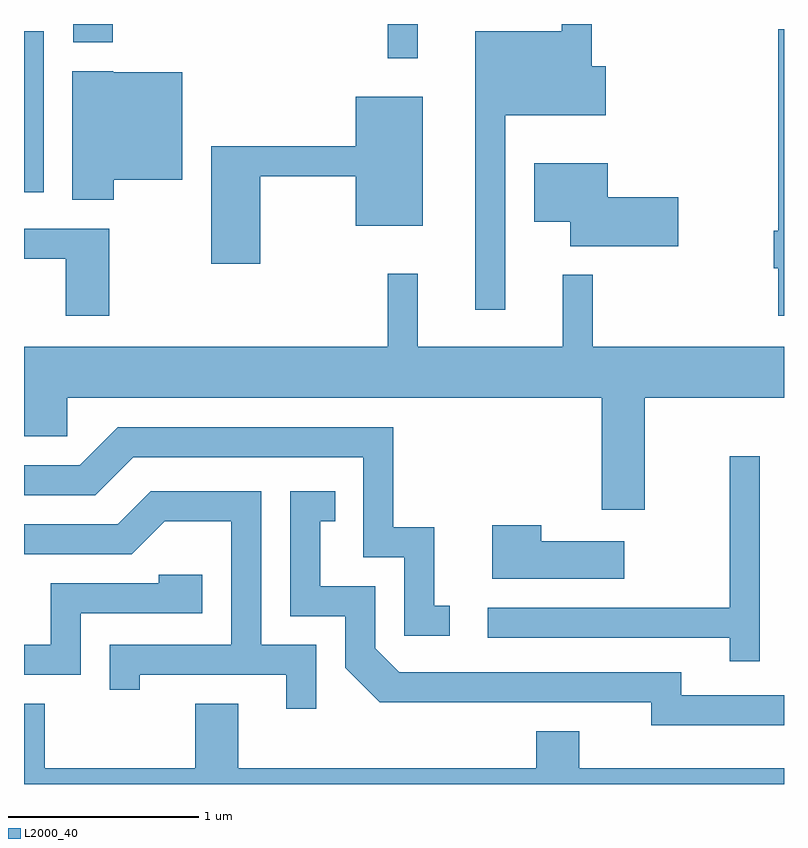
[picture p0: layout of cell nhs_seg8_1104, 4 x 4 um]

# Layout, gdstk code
import gdstk
lib = gdstk.Library(unit=1e-6, precision=1e-09)
def R(c, l, rs):  # rectangles x0, y0, x1, y1
    for r in rs: c.add(gdstk.rectangle(r[:2], r[2:], *l))
def P(c, l, *ps):  # polygons
    for p in ps: c.add(gdstk.Polygon(p, *l))
L2000_40 = (2000, 40)

nhs_seg8_1104 = lib.new_cell('nhs_seg8_1104')
R(nhs_seg8_1104, L2000_40, [(217.611,1877.456,217.714,1878.304), (219.526,1878.163,219.684,1878.342), (217.871,1878.246,218.079,1878.342)])
P(nhs_seg8_1104, L2000_40, [(220.144,1877.861),(220.674,1877.861),(220.674,1878.119),(220.599,1878.119),(220.599,1878.342),(220.441,1878.342),(220.441,1878.304),(219.986,1878.304),(219.986,1876.838),(220.144,1876.838)],
  [(221.611,1878.314),(221.581,1878.314),(221.581,1877.254),(221.556,1877.254),(221.556,1877.056),(221.581,1877.056),(221.581,1876.806),(221.611,1876.806)],
  [(218.084,1877.521),(218.444,1877.521),(218.444,1878.089),(218.08,1878.089),(218.08,1878.094),(217.866,1878.094),(217.866,1877.416),(218.084,1877.416)],
  [(218.854,1877.541),(219.356,1877.541),(219.356,1877.281),(219.709,1877.281),(219.709,1877.959),(219.356,1877.959),(219.356,1877.699),(218.596,1877.699),(218.596,1877.081),(218.854,1877.081)],
  [(221.054,1877.429),(220.684,1877.429),(220.684,1877.609),(220.296,1877.609),(220.296,1877.301),(220.486,1877.301),(220.486,1877.171),(221.054,1877.171)],
  [(218.059,1877.264),(217.611,1877.264),(217.611,1877.106),(217.831,1877.106),(217.831,1876.806),(218.059,1876.806)],
  [(220.879,1876.376),(221.611,1876.376),(221.611,1876.644),(220.604,1876.644),(220.604,1877.023),(220.446,1877.023),(220.446,1876.644),(219.684,1876.644),(219.684,1877.028),(219.526,1877.028),(219.526,1876.644),(217.611,1876.644),(217.611,1876.171),(217.839,1876.171),(217.839,1876.376),(220.651,1876.376),(220.651,1875.786),(220.879,1875.786)],
  [(219.853,1875.279),(219.769,1875.279),(219.769,1875.694),(219.554,1875.694),(219.554,1876.219),(218.104,1876.219),(217.904,1876.019),(217.611,1876.019),(217.611,1875.861),(217.987,1875.861),(218.187,1876.061),(219.396,1876.061),(219.396,1875.536),(219.611,1875.536),(219.611,1875.121),(219.853,1875.121)],
  [(221.484,1876.068),(221.326,1876.068),(221.326,1875.269),(220.053,1875.269),(220.053,1875.111),(221.326,1875.111),(221.326,1874.988),(221.484,1874.988)],
  [(219.149,1875.074),(218.859,1875.074),(218.859,1875.884),(218.279,1875.884),(218.104,1875.709),(217.611,1875.709),(217.611,1875.551),(218.177,1875.551),(218.352,1875.726),(218.701,1875.726),(218.701,1875.074),(218.061,1875.074),(218.061,1874.838),(218.219,1874.838),(218.219,1874.916),(218.991,1874.916),(218.991,1874.738),(219.149,1874.738)],
  [(221.611,1874.809),(221.069,1874.809),(221.069,1874.929),(219.587,1874.929),(219.459,1875.057),(219.459,1875.384),(219.169,1875.384),(219.169,1875.726),(219.248,1875.726),(219.248,1875.884),(219.011,1875.884),(219.011,1875.226),(219.301,1875.226),(219.301,1874.954),(219.484,1874.771),(220.911,1874.771),(220.911,1874.651),(221.611,1874.651)],
  [(220.769,1875.619),(220.334,1875.619),(220.334,1875.704),(220.076,1875.704),(220.076,1875.421),(220.769,1875.421)],
  [(217.909,1875.241),(218.549,1875.241),(218.549,1875.444),(218.321,1875.444),(218.321,1875.399),(217.751,1875.399),(217.751,1875.074),(217.611,1875.074),(217.611,1874.916),(217.909,1874.916)],
  [(221.611,1874.424),(220.534,1874.424),(220.534,1874.619),(220.306,1874.619),(220.306,1874.424),(218.739,1874.424),(218.739,1874.764),(218.511,1874.764),(218.511,1874.424),(217.719,1874.424),(217.719,1874.764),(217.611,1874.764),(217.611,1874.342),(221.611,1874.342)])

lib.write_gds('nhs_seg8_1104.gds')
